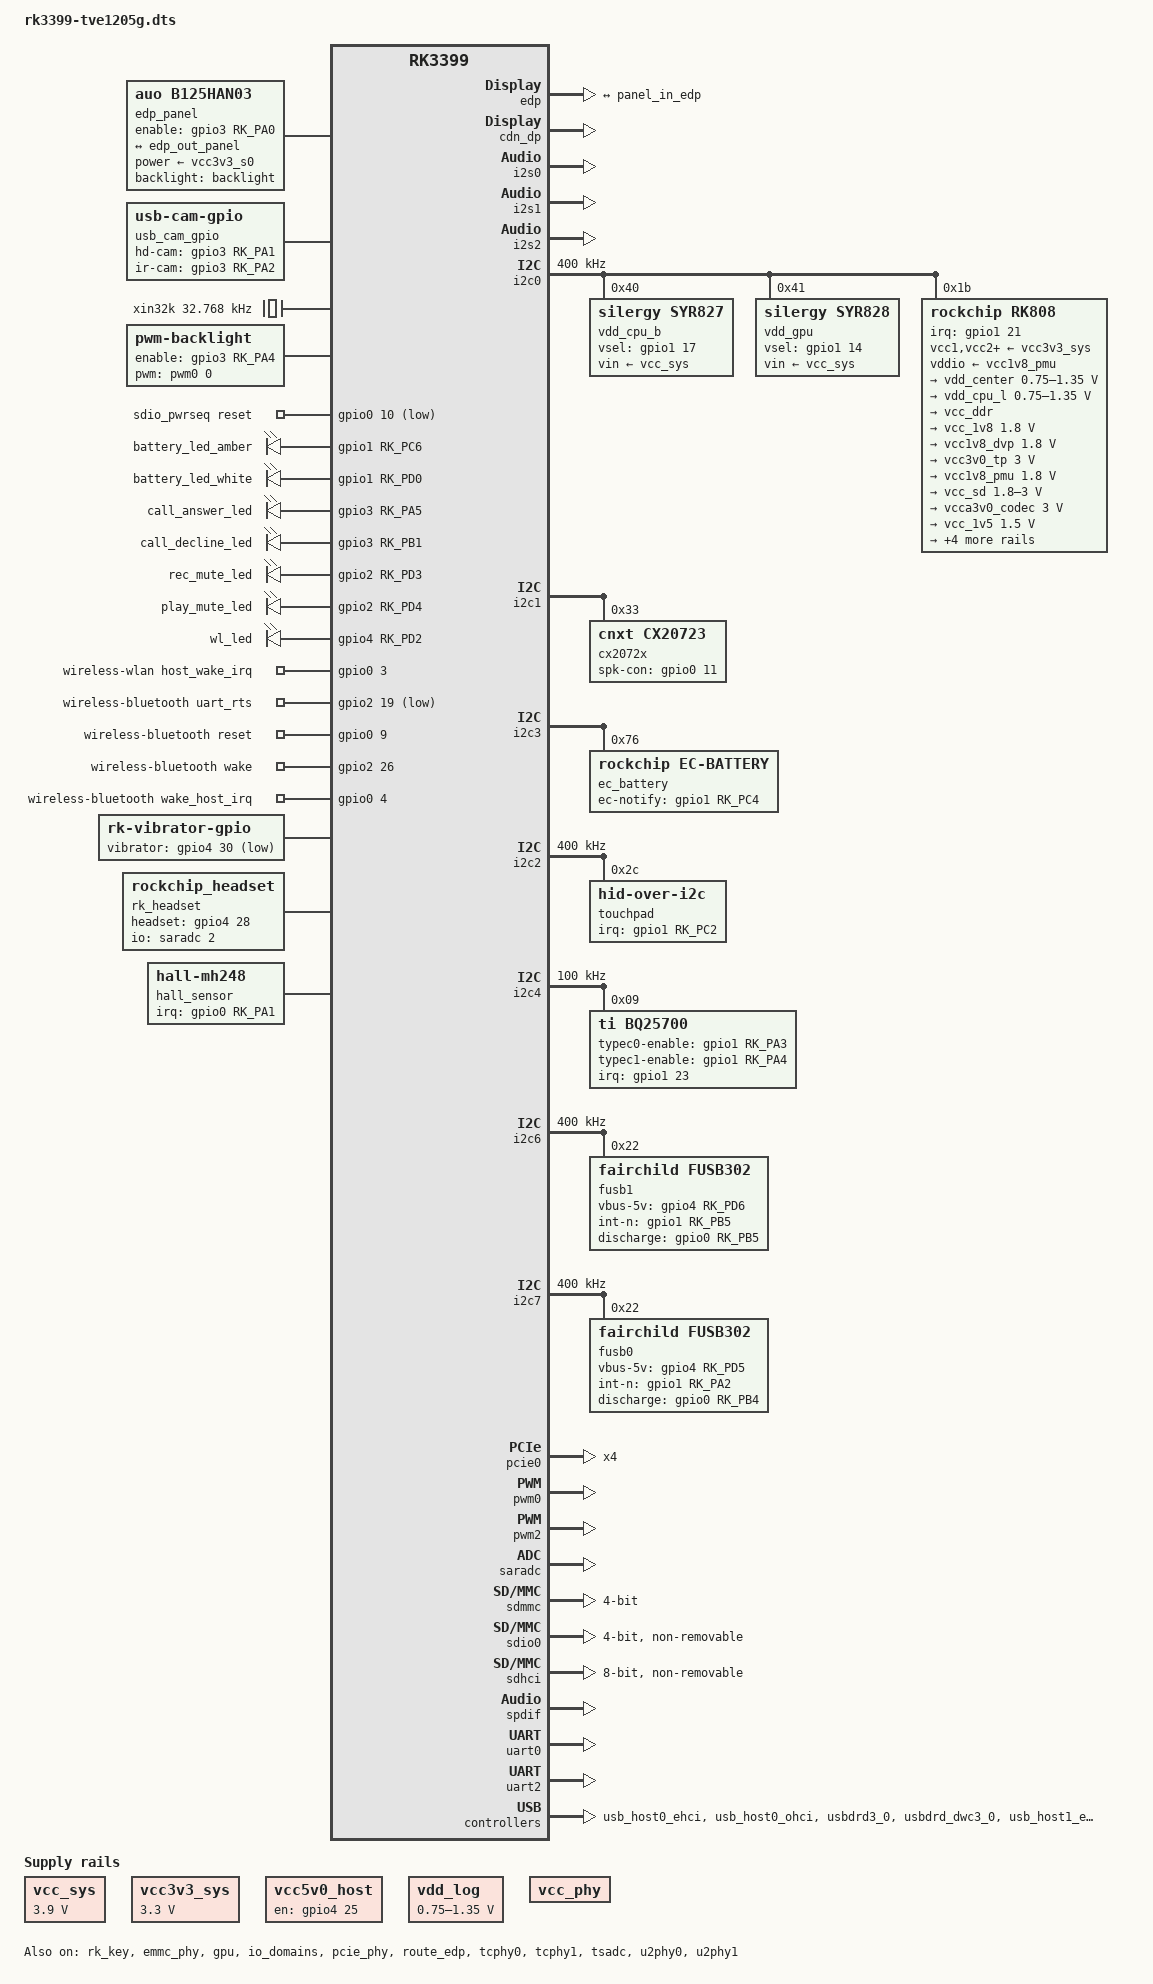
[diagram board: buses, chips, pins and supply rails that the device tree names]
/*
 * Copyright (c) 2016 Fuzhou Rockchip Electronics Co., Ltd
 *
 * This file is dual-licensed: you can use it either under the terms
 * of the GPL or the X11 license, at your option. Note that this dual
 * licensing only applies to this file, and not this project as a
 * whole.
 *
 *  a) This file is free software; you can redistribute it and/or
 *     modify it under the terms of the GNU General Public License as
 *     published by the Free Software Foundation; either version 2 of the
 *     License, or (at your option) any later version.
 *
 *     This file is distributed in the hope that it will be useful,
 *     but WITHOUT ANY WARRANTY; without even the implied warranty of
 *     MERCHANTABILITY or FITNESS FOR A PARTICULAR PURPOSE.  See the
 *     GNU General Public License for more details.
 *
 * Or, alternatively,
 *
 *  b) Permission is hereby granted, free of charge, to any person
 *     obtaining a copy of this software and associated documentation
 *     files (the "Software"), to deal in the Software without
 *     restriction, including without limitation the rights to use,
 *     copy, modify, merge, publish, distribute, sublicense, and/or
 *     sell copies of the Software, and to permit persons to whom the
 *     Software is furnished to do so, subject to the following
 *     conditions:
 *
 *     The above copyright notice and this permission notice shall be
 *     included in all copies or substantial portions of the Software.
 *
 *     THE SOFTWARE IS PROVIDED "AS IS", WITHOUT WARRANTY OF ANY KIND,
 *     EXPRESS OR IMPLIED, INCLUDING BUT NOT LIMITED TO THE WARRANTIES
 *     OF MERCHANTABILITY, FITNESS FOR A PARTICULAR PURPOSE AND
 *     NONINFRINGEMENT. IN NO EVENT SHALL THE AUTHORS OR COPYRIGHT
 *     HOLDERS BE LIABLE FOR ANY CLAIM, DAMAGES OR OTHER LIABILITY,
 *     WHETHER IN AN ACTION OF CONTRACT, TORT OR OTHERWISE, ARISING
 *     FROM, OUT OF OR IN CONNECTION WITH THE SOFTWARE OR THE USE OR
 *     OTHER DEALINGS IN THE SOFTWARE.
 */

/dts-v1/;
#include <dt-bindings/pinctrl/rockchip.h>
#include "rk3399.dtsi"
#include "rk3399-android.dtsi"
#include "rk3399-opp.dtsi"
#include <dt-bindings/sensor-dev.h>
#include <dt-bindings/pwm/pwm.h>

/ {
	compatible = "rockchip,rk3399-mid", "rockchip,rk3399";

	edp_panel: edp-panel {
		compatible = "auo,b125han03";
		backlight = <&backlight>;
		power-supply = <&vcc3v3_s0>;
		enable-gpios = <&gpio3 RK_PA0 GPIO_ACTIVE_HIGH>;
		bus-format = <MEDIA_BUS_FMT_RGB666_1X18>;
		bpc = <6>;
		prepare-delay-ms = <50>;
		ports {
			panel_in_edp: endpoint {
				remote-endpoint = <&edp_out_panel>;
			};
		};
	};

	usb_cam_gpio: usb-cam-gpio {
		compatible = "usb-cam-gpio";
		pinctrl-names = "default";
		pinctrl-0 = <&usb_cam_on_gpio>;
		hd-cam-gpios = <&gpio3 RK_PA1 GPIO_ACTIVE_HIGH>;
		ir-cam-gpios = <&gpio3 RK_PA2 GPIO_ACTIVE_HIGH>;
		status = "okay";
	};

	vcc_sys: vcc-sys {
		compatible = "regulator-fixed";
		regulator-name = "vcc_sys";
		regulator-always-on;
		regulator-boot-on;
		regulator-min-microvolt = <3900000>;
		regulator-max-microvolt = <3900000>;
	};

	vcc3v3_sys: vcc3v3-sys {
		compatible = "regulator-fixed";
		regulator-name = "vcc3v3_sys";
		regulator-always-on;
		regulator-boot-on;
		regulator-min-microvolt = <3300000>;
		regulator-max-microvolt = <3300000>;
	};

	vcc5v0_host: vcc5v0-host-regulator {
		compatible = "regulator-fixed";
		enable-active-high;
		gpio = <&gpio4 25 GPIO_ACTIVE_HIGH>;
		pinctrl-names = "default";
		pinctrl-0 = <&host_vbus_drv>;
		regulator-name = "vcc5v0_host";
		regulator-always-on;
	};

	vdd_log: vdd-log {
		compatible = "pwm-regulator";
		pwms = <&pwm2 0 25000 1>;
		rockchip,pwm_id= <2>;
		rockchip,pwm_voltage = <900000>;
		regulator-name = "vdd_log";
		regulator-min-microvolt = <750000>;
		regulator-max-microvolt = <1350000>;
		regulator-always-on;
		regulator-boot-on;
	};

	xin32k: xin32k {
		compatible = "fixed-clock";
		clock-frequency = <32768>;
		clock-output-names = "xin32k";
		#clock-cells = <0>;
	};

	backlight: backlight {
		compatible = "pwm-backlight";
		pwms = <&pwm0 0 25000 0>;
		brightness-levels = <
			0   1   51  52  52  53  53  54
			54  55  55  56  56  57  57  58
			58  59  59  60  61  61  62  63
			63  64  65  65  66  67  67  68
			69  69  70  71  71  72  73  73
			74  75  75  76  77  77  78  79
			79  80  80  81  81  82  83  83
			84  85  86  86  87  88  89  89
			90  91  92  92  93  94  95  95
			96  97  98  98  99 100 101  101
			102 103 104 104 105 106 107 107
			108 109 110 110 111 112 113 113
			114 115 116 116 117 118 119 119
			120 121 122 122 123 124 125 125
			126 127 128 128 129 130 131 131
			132 133 134 134 135 136 137 137
			138 139 140 140 141 142 143 143
			144 145 146 146 147 148 149 149
			150 151 152 152 153 154 155 155
			156 157 158 158 159 160 161 161
			162 163 164 164 165 166 167 167
			168 169 170 170 171 172 173 173
			174 175 176 176 177 178 179 179
			180 181 182 182 183 184 185 185
			186 187 188 188 189 190 191 191
			216 217 218 218 219 220 221 221
			222 223 224 224 225 226 227 227
			228 229 230 230 231 232 233 233
			234 235 236 236 237 238 239 239
			240 241 242 242 243 244 245 245
			246 247 248 248 249 250 251 251
			252 253 254 254 255 255 255 255>;
		default-brightness-level = <200>;
		enable-gpios = <&gpio3 RK_PA4 GPIO_ACTIVE_HIGH>;
	};

	vcc_phy: vcc-phy-regulator {
		compatible = "regulator-fixed";
		regulator-name = "vcc_phy";
		regulator-always-on;
		regulator-boot-on;
	};

	cx2072x-sound {
		compatible = "simple-audio-card";
		simple-audio-card,format = "i2s";
		simple-audio-card,name = "rockchip,cx2072x-codec";
		simple-audio-card,mclk-fs = <256>;
		simple-audio-card,widgets =
			"Microphone", "Microphone Jack",
			"Line", "Microphone Headset",
			"Headphone", "Headphone Jack",
			"Speaker", "Speaker External";
		simple-audio-card,routing =
			"PORTC", "Microphone Jack",
			"PortD Mic Bias", "Microphone Headset",
			"Headphone Jack", "PORTA",
			"Speaker External", "PORTG";
		simple-audio-card,cpu {
			sound-dai = <&i2s0>;
		};
		simple-audio-card,codec {
			sound-dai = <&cx2072x>;
		};
	};

	sound {
		compatible = "rockchip,cdndp-sound";
		rockchip,cpu = <&i2s2>;
		rockchip,codec = <&cdn_dp>;
		status = "okay";
	};

	bt-sound {
		compatible = "simple-audio-card";
		simple-audio-card,format = "dsp_b";
		simple-audio-card,bitclock-inversion = <1>;
		simple-audio-card,mclk-fs = <256>;
		simple-audio-card,name = "rockchip,bt";
		simple-audio-card,cpu {
			sound-dai = <&i2s1>;
		};
		simple-audio-card,codec {
			sound-dai = <&bt_sco>;
		};
	};

	bt_sco: bt-sco {
		compatible = "delta,dfbmcs320";
		#sound-dai-cells = <0>;
	};

	sdio_pwrseq: sdio-pwrseq {
		compatible = "mmc-pwrseq-simple";
		clocks = <&rk808 1>;
		clock-names = "ext_clock";
		pinctrl-names = "default";
		pinctrl-0 = <&wifi_enable_h>;

		/*
		 * On the module itself this is one of these (depending
		 * on the actual card populated):
		 * - SDIO_RESET_L_WL_REG_ON
		 * - PDN (power down when low)
		 */
		reset-gpios = <&gpio0 10 GPIO_ACTIVE_LOW>; /* GPIO0_B2 */
	};

	leds: gpio-leds {
		compatible = "gpio-leds";
		pinctrl-names = "default";
		pinctrl-0 =<&leds_gpio>;

		led@1 {
			gpios = <&gpio1 RK_PC6 GPIO_ACTIVE_HIGH>;
			label = "battery_led_amber";
			retain-state-suspended;
		};

		led@2 {
			gpios = <&gpio1 RK_PD0 GPIO_ACTIVE_HIGH>;
			label = "battery_led_white";
			retain-state-suspended;
		};

		led@3 {
			gpios = <&gpio3 RK_PA5 GPIO_ACTIVE_HIGH>;
			label = "call_answer_led";
		};

		led@4 {
			gpios = <&gpio3 RK_PB1 GPIO_ACTIVE_HIGH>;
			label = "call_decline_led";
		};

		led@5 {
			gpios = <&gpio2 RK_PD3 GPIO_ACTIVE_HIGH>;
			label = "rec_mute_led";
		};

		led@6 {
			gpios = <&gpio2 RK_PD4 GPIO_ACTIVE_HIGH>;
			label = "play_mute_led";
		};

		led@7 {
			gpios = <&gpio4 RK_PD2 GPIO_ACTIVE_HIGH>;
			label = "wl_led";
		};
	};

	wireless-wlan {
		compatible = "wlan-platdata";
		rockchip,grf = <&grf>;
		wifi_chip_type = "ap6354";
		sdio_vref = <1800>;
		WIFI,host_wake_irq = <&gpio0 3 GPIO_ACTIVE_HIGH>; /* GPIO0_a3 */
		status = "okay";
	};

	wireless-bluetooth {
		compatible = "bluetooth-platdata";
		clocks = <&rk808 1>;
		clock-names = "ext_clock";
		//wifi-bt-power-toggle;
		uart_rts_gpios = <&gpio2 19 GPIO_ACTIVE_LOW>; /* GPIO2_C3 */
		pinctrl-names = "default", "rts_gpio";
		pinctrl-0 = <&uart0_rts>;
		pinctrl-1 = <&uart0_gpios>;
		//BT,power_gpio  = <&gpio3 19 GPIO_ACTIVE_HIGH>; /* GPIOx_xx */
		BT,reset_gpio    = <&gpio0 9 GPIO_ACTIVE_HIGH>; /* GPIO0_B1 */
		BT,wake_gpio     = <&gpio2 26 GPIO_ACTIVE_HIGH>; /* GPIO2_D2 */
		BT,wake_host_irq = <&gpio0 4 GPIO_ACTIVE_HIGH>; /* GPIO0_A4 */
		status = "okay";
	};

	uboot-charge {
		compatible = "rockchip,uboot-charge";
		rockchip,uboot-charge-on = <1>;
		rockchip,android-charge-on = <0>;
		rockchip,uboot-exit-charge-level = <2>;
		rockchip,uboot-low-power-level = <1>;
		rockchip,uboot-charge-brightness = <0>;
		max-input-voltage = <20000>;
		max-input-current = <6000>;
	};

	vibrator {
		compatible = "rk-vibrator-gpio";
		vibrator-gpio = <&gpio4 30 GPIO_ACTIVE_LOW>;
		status = "okay";
	};

	rk_headset {
		compatible = "rockchip_headset";
		headset_gpio = <&gpio4 28 GPIO_ACTIVE_HIGH>;
		pinctrl-names = "default";
		pinctrl-0 = <&hp_det>;
		io-channels = <&saradc 2>;
	};

	hall_sensor: hall-mh248 {
		compatible = "hall-mh248";
		pinctrl-names = "default";
		pinctrl-0 = <&mh248_irq_gpio>;
		irq-gpio = <&gpio0 RK_PA1 IRQ_TYPE_EDGE_BOTH>;
		hall-active = <1>;
		status = "okay";
	};
};

&rk_key {
	compatible = "rockchip,key";
	status = "okay";

	io-channels = <&saradc 1>;

	vol-up-key {
		linux,code = <114>;
		label = "volume up";
		rockchip,adc_value = <1>;
	};

	vol-down-key {
		linux,code = <115>;
		label = "volume down";
		rockchip,adc_value = <170>;
	};

	power-key {
		gpios = <&gpio0 5 GPIO_ACTIVE_LOW>;
		linux,code = <116>;
		label = "power";
		gpio-key,wakeup;
	};

	menu-key {
		linux,code = <59>;
		label = "menu";
		rockchip,adc_value = <746>;
	};

	home-key {
		linux,code = <102>;
		label = "home";
		rockchip,adc_value = <355>;
	};

	back-key {
		linux,code = <158>;
		label = "back";
		rockchip,adc_value = <560>;
	};

	camera-key {
		linux,code = <212>;
		label = "camera";
		rockchip,adc_value = <450>;
	};
};

&cpu_l0 {
	cpu-supply = <&vdd_cpu_l>;
};

&cpu_l1 {
	cpu-supply = <&vdd_cpu_l>;
};

&cpu_l2 {
	cpu-supply = <&vdd_cpu_l>;
};

&cpu_l3 {
	cpu-supply = <&vdd_cpu_l>;
};

&cpu_b0 {
	cpu-supply = <&vdd_cpu_b>;
};

&cpu_b1 {
	cpu-supply = <&vdd_cpu_b>;
};

&edp {
	status = "okay";

	ports {
		edp_out: port@1 {
			reg = <1>;
			#address-cells = <1>;
			#size-cells = <0>;
			edp_out_panel: endpoint@0 {
				reg = <0>;
				remote-endpoint = <&panel_in_edp>;
			};
		};
	};
};

&edp_in_vopl {
	status = "disabled";
};

&emmc_phy {
	status = "okay";
};

&gpu {
	status = "okay";
	mali-supply = <&vdd_gpu>;
};

&hdmi {
	status = "disabled";
};

&cdn_dp {
	status = "okay";
	extcon = <&fusb0>, <&fusb1>;
};

&dp_in_vopb {
	status = "disabled";
};

&i2s0 {
	status = "okay";
	rockchip,i2s-broken-burst-len;
	rockchip,playback-channels = <8>;
	rockchip,capture-channels = <8>;
	rockchip,bclk-fs = <32>;
	#sound-dai-cells = <0>;
};

&i2s1 {
	status = "okay";
	rockchip,i2s-broken-burst-len;
	rockchip,playback-channels = <2>;
	rockchip,capture-channels = <2>;
	#sound-dai-cells = <0>;
};

&i2s2 {
	status = "okay";
	#sound-dai-cells = <0>;
};

&i2c0 {
	status = "okay";
	i2c-scl-rising-time-ns = <180>;
	i2c-scl-falling-time-ns = <30>;
	clock-frequency = <400000>;

	vdd_cpu_b: syr837@40 {
		compatible = "silergy,syr827";
		reg = <0x40>;
		vin-supply = <&vcc_sys>;
		regulator-compatible = "fan53555-reg";
		pinctrl-0 = <&vsel1_gpio>;
		vsel-gpios = <&gpio1 17 GPIO_ACTIVE_HIGH>;
		regulator-name = "vdd_cpu_b";
		regulator-min-microvolt = <712500>;
		regulator-max-microvolt = <1500000>;
		regulator-ramp-delay = <1000>;
		fcs,suspend-voltage-selector = <1>;
		regulator-always-on;
		regulator-initial-state = <3>;
		regulator-state-mem {
			regulator-off-in-suspend;
		};
	};

	vdd_gpu: syr828@41 {
		compatible = "silergy,syr828";
		status = "okay";
		reg = <0x41>;
		vin-supply = <&vcc_sys>;
		regulator-compatible = "fan53555-reg";
		pinctrl-0 = <&vsel2_gpio>;
		vsel-gpios = <&gpio1 14 GPIO_ACTIVE_HIGH>;
		regulator-name = "vdd_gpu";
		regulator-min-microvolt = <735000>;
		regulator-max-microvolt = <1400000>;
		regulator-ramp-delay = <1000>;
		fcs,suspend-voltage-selector = <1>;
		regulator-always-on;
		regulator-boot-on;
		regulator-state-mem {
			regulator-off-in-suspend;
		};
	};

	rk808: pmic@1b {
		compatible = "rockchip,rk808";
		reg = <0x1b>;
		interrupt-parent = <&gpio1>;
		interrupts = <21 IRQ_TYPE_LEVEL_LOW>;
		pinctrl-0 = <&pmic_int_l>;
		rockchip,system-power-controller;
		wakeup-source;
		#clock-cells = <1>;
		clock-output-names = "rk808-clkout1", "rk808-clkout2";

		vcc1-supply = <&vcc3v3_sys>;
		vcc2-supply = <&vcc3v3_sys>;
		vcc3-supply = <&vcc3v3_sys>;
		vcc4-supply = <&vcc3v3_sys>;
		vcc6-supply = <&vcc3v3_sys>;
		vcc7-supply = <&vcc3v3_sys>;
		vcc8-supply = <&vcc3v3_sys>;
		vcc9-supply = <&vcc3v3_sys>;
		vcc10-supply = <&vcc3v3_sys>;
		vcc11-supply = <&vcc3v3_sys>;
		vcc12-supply = <&vcc3v3_sys>;
		vddio-supply = <&vcc1v8_pmu>;

		regulators {
			vdd_center: DCDC_REG1 {
				regulator-always-on;
				regulator-boot-on;
				regulator-min-microvolt = <750000>;
				regulator-max-microvolt = <1350000>;
				regulator-ramp-delay = <6001>;
				regulator-name = "vdd_center";
				regulator-state-mem {
					regulator-off-in-suspend;
				};
			};

			vdd_cpu_l: DCDC_REG2 {
				regulator-always-on;
				regulator-boot-on;
				regulator-min-microvolt = <750000>;
				regulator-max-microvolt = <1350000>;
				regulator-ramp-delay = <6001>;
				regulator-name = "vdd_cpu_l";
				regulator-state-mem {
					regulator-off-in-suspend;
				};
			};

			vcc_ddr: DCDC_REG3 {
				regulator-always-on;
				regulator-boot-on;
				regulator-name = "vcc_ddr";
				regulator-state-mem {
					regulator-on-in-suspend;
				};
			};

			vcc_1v8: DCDC_REG4 {
				regulator-always-on;
				regulator-boot-on;
				regulator-min-microvolt = <1800000>;
				regulator-max-microvolt = <1800000>;
				regulator-name = "vcc_1v8";
				regulator-state-mem {
					regulator-on-in-suspend;
					regulator-suspend-microvolt = <1800000>;
				};
			};

			vcc1v8_dvp: LDO_REG1 {
				regulator-always-on;
				regulator-boot-on;
				regulator-min-microvolt = <1800000>;
				regulator-max-microvolt = <1800000>;
				regulator-name = "vcc1v8_dvp";
				regulator-state-mem {
					regulator-off-in-suspend;
				};
			};

			vcc3v0_tp: LDO_REG2 {
				regulator-always-on;
				regulator-boot-on;
				regulator-min-microvolt = <3000000>;
				regulator-max-microvolt = <3000000>;
				regulator-name = "vcc3v0_tp";
				regulator-state-mem {
					regulator-off-in-suspend;
				};
			};

			vcc1v8_pmu: LDO_REG3 {
				regulator-always-on;
				regulator-boot-on;
				regulator-min-microvolt = <1800000>;
				regulator-max-microvolt = <1800000>;
				regulator-name = "vcc1v8_pmu";
				regulator-state-mem {
					regulator-on-in-suspend;
					regulator-suspend-microvolt = <1800000>;
				};
			};

			vcc_sd: LDO_REG4 {
				regulator-always-on;
				regulator-boot-on;
				regulator-min-microvolt = <1800000>;
				regulator-max-microvolt = <3000000>;
				regulator-name = "vcc_sd";
				regulator-state-mem {
					regulator-on-in-suspend;
					regulator-suspend-microvolt = <3000000>;
				};
			};

			vcca3v0_codec: LDO_REG5 {
				regulator-always-on;
				regulator-boot-on;
				regulator-min-microvolt = <3000000>;
				regulator-max-microvolt = <3000000>;
				regulator-name = "vcca3v0_codec";
				regulator-state-mem {
					regulator-off-in-suspend;
				};
			};

			vcc_1v5: LDO_REG6 {
				regulator-always-on;
				regulator-boot-on;
				regulator-min-microvolt = <1500000>;
				regulator-max-microvolt = <1500000>;
				regulator-name = "vcc_1v5";
				regulator-state-mem {
					regulator-on-in-suspend;
					regulator-suspend-microvolt = <1500000>;
				};
			};

			vcca1v8_codec: LDO_REG7 {
				regulator-always-on;
				regulator-boot-on;
				regulator-min-microvolt = <1800000>;
				regulator-max-microvolt = <1800000>;
				regulator-name = "vcca1v8_codec";
				regulator-state-mem {
					regulator-off-in-suspend;
				};
			};

			vcc_3v0: LDO_REG8 {
				regulator-always-on;
				regulator-boot-on;
				regulator-min-microvolt = <3000000>;
				regulator-max-microvolt = <3000000>;
				regulator-name = "vcc_3v0";
				regulator-state-mem {
					regulator-on-in-suspend;
					regulator-suspend-microvolt = <3000000>;
				};
			};

			vcc3v3_s3: SWITCH_REG1 {
				regulator-always-on;
				regulator-boot-on;
				regulator-name = "vcc3v3_s3";
				regulator-state-mem {
					regulator-off-in-suspend;
				};
			};

			vcc3v3_s0: SWITCH_REG2 {
				regulator-always-on;
				regulator-boot-on;
				regulator-name = "vcc3v3_s0";
				regulator-state-mem {
					regulator-off-in-suspend;
				};
			};
		};
	};
};

&i2c1 {
	status = "okay";
	i2c-scl-rising-time-ns = <140>;
	i2c-scl-falling-time-ns = <30>;

	cx2072x:cx2072x@33 {
		status = "okay";
		#sound-dai-cells = <0>;
		compatible = "cnxt,cx20723";
		reg = <0x33>;
		clocks = <&cru SCLK_I2S_8CH_OUT>;
		clock-names = "mclk";
		pinctrl-names = "default";
		pinctrl-0 = <&i2s_8ch_mclk>;
		spk-con-gpio = <&gpio0 11 GPIO_ACTIVE_HIGH>;
	};
};

&i2c3 {
	status="okay";

	hidkey@68 {
		clock-frequency = <100000>;
		compatible = "hid-over-i2c";
		interrupt-parent = <&gpio0>;
		interrupts = <RK_PB0 IRQ_TYPE_LEVEL_LOW>;
		pinctrl-names = "default";
		pinctrl-0 = <&hidkey_irq_gpio>;
		reg = <0x68>;
		hid-descr-addr = <0x0001>;
		hid-support-wakeup;
	};

	ec_battery@76 {
		compatible = "rockchip,ec-battery";
		reg = <0x76>;
		virtual_power = <0>;
		monitor_sec = <5>;
		ec-notify-gpios = <&gpio1 RK_PC4 GPIO_ACTIVE_HIGH>;
	};
};

&i2c2 {
	status = "okay";
	i2c-scl-rising-time-ns = <345>;
	i2c-scl-falling-time-ns = <11>;
	clock-frequency = <400000>;

	touchpad: touchpad@2c {
		compatible = "hid-over-i2c";
		interrupt-parent = <&gpio1>;
		interrupts = <RK_PC2 IRQ_TYPE_LEVEL_LOW>;
		pinctrl-names = "default";
		pinctrl-0 = <&touchpad_irq_gpio>;
		reg = <0x2c>;
		hid-descr-addr = <0x002c>;
	};
};

&i2c4 {
	status = "okay";
	clock-frequency = <100000>;
	bq25700: bq25700@09 {//6a
		compatible = "ti,bq25700";
		reg = <0x09>;
		extcon = <&fusb0>, <&fusb1>;

		interrupt-parent = <&gpio1>;
		interrupts = <23 IRQ_TYPE_LEVEL_LOW>;
		pinctrl-names = "default";
		pinctrl-0 = <&charger_ok>;
		ti,charge-current = <2500000>;
		ti,max-input-voltage = <20000000>;
		ti,max-input-current = <6000000>;
		ti,max-charge-voltage = <8750000>;
		ti,input-current = <500000>;
		ti,input-current-sdp = <500000>;
		ti,input-current-dcp = <2000000>;
		ti,input-current-cdp = <2000000>;
		ti,minimum-sys-voltage = <7400000>;
		ti,otg-voltage = <5000000>;
		ti,otg-current = <500000>;
		pd-charge-only = <1>;
		typec0-enable-gpios = <&gpio1 RK_PA3 GPIO_ACTIVE_HIGH>;
		typec1-enable-gpios = <&gpio1 RK_PA4 GPIO_ACTIVE_HIGH>;
	};
};

&i2c6 {
	status = "okay";
	i2c-scl-rising-time-ns = <345>;
	i2c-scl-falling-time-ns = <11>;
	clock-frequency = <400000>;

	fusb1: fusb30x@22 {
		compatible = "fairchild,fusb302";
		reg = <0x22>;
		pinctrl-names = "default";
		pinctrl-0 = <&fusb1_int>;
		vbus-5v-gpios = <&gpio4 RK_PD6 GPIO_ACTIVE_HIGH>;
		int-n-gpios = <&gpio1 RK_PB5 GPIO_ACTIVE_HIGH>;
		discharge-gpios = <&gpio0 RK_PB5 GPIO_ACTIVE_HIGH>;
		charge-dev = <&bq25700>;
		support-uboot-charge = <1>;
		port-num = <1>;
		status = "okay";
	};
};

&i2c7 {
	status = "okay";
	i2c-scl-rising-time-ns = <345>;
	i2c-scl-falling-time-ns = <11>;
	clock-frequency = <400000>;

	fusb0: fusb30x@22 {
		compatible = "fairchild,fusb302";
		reg = <0x22>;
		pinctrl-names = "default";
		pinctrl-0 = <&fusb0_int>;
		vbus-5v-gpios = <&gpio4 RK_PD5 GPIO_ACTIVE_HIGH>;
		int-n-gpios = <&gpio1 RK_PA2 GPIO_ACTIVE_HIGH>;
		discharge-gpios = <&gpio0 RK_PB4 GPIO_ACTIVE_HIGH>;
		charge-dev = <&bq25700>;
		support-uboot-charge = <1>;
		port-num = <0>;
		status = "okay";
	};
};

&io_domains {
	status = "okay";
	bt656-supply = <&vcc_3v0>;
	audio-supply = <&vcca1v8_codec>;
	sdmmc-supply = <&vcc_sd>;
	gpio1830-supply = <&vcc_3v0>;
};

&dsi {
	status = "disabled";
};

&pcie_phy {
	status = "okay";
};

&pcie0 {
	ep-gpios = <&gpio3 7 GPIO_ACTIVE_HIGH>;
	num-lanes = <4>;
	pinctrl-names = "default";
	pinctrl-0 = <&pcie_clkreqn_cpm>;
	status = "okay";
};

&pmu_io_domains {
	status = "okay";
	pmu1830-supply = <&vcc_1v8>;
};

&pwm0 {
	status = "okay";
};

&pwm2 {
	status = "okay";
};

&route_edp {
	status = "okay";
	logo,mode = "center";
};

&saradc {
	status = "okay";
};

&sdmmc {
	clock-frequency = <50000000>;
	clock-freq-min-max = <400000 150000000>;
	supports-sd;
	bus-width = <4>;
	cap-mmc-highspeed;
	cap-sd-highspeed;
	disable-wp;
	num-slots = <1>;
	//sd-uhs-sdr104;
	vqmmc-supply = <&vcc_sd>;
	pinctrl-names = "default";
	pinctrl-0 = <&sdmmc_clk &sdmmc_cmd &sdmmc_cd &sdmmc_bus4>;
	status = "okay";
};

&sdio0 {
	clock-frequency = <150000000>;
	clock-freq-min-max = <200000 150000000>;
	supports-sdio;
	bus-width = <4>;
	disable-wp;
	cap-sd-highspeed;
	cap-sdio-irq;
	keep-power-in-suspend;
	mmc-pwrseq = <&sdio_pwrseq>;
	non-removable;
	num-slots = <1>;
	pinctrl-names = "default";
	pinctrl-0 = <&sdio0_bus4 &sdio0_cmd &sdio0_clk>;
	sd-uhs-sdr104;
	status = "okay";
};

&sdhci {
	bus-width = <8>;
	mmc-hs400-1_8v;
	supports-emmc;
	non-removable;
	keep-power-in-suspend;
	mmc-hs400-enhanced-strobe;
	status = "okay";
};

&spdif {
	status = "okay";
	#sound-dai-cells = <0>;
};

&spi1 {
	status = "disabled";
};

&tcphy0 {
	extcon = <&fusb0>;
	status = "okay";
};

&tcphy1 {
	extcon = <&fusb1>;
	status = "okay";
};

&tsadc {
	rockchip,hw-tshut-mode = <1>; /* tshut mode 0:CRU 1:GPIO */
	rockchip,hw-tshut-polarity = <1>; /* tshut polarity 0:LOW 1:HIGH */
	status = "okay";
};

&u2phy0 {
	status = "okay";
	extcon = <&fusb0>;

	u2phy0_otg: otg-port {
		status = "okay";
	};

	u2phy0_host: host-port {
		phy-supply = <&vcc5v0_host>;
		status = "okay";
	};
};

&u2phy1 {
	status = "okay";
	extcon = <&fusb1>;

	u2phy1_otg: otg-port {
		status = "okay";
	};

	u2phy1_host: host-port {
		phy-supply = <&vcc5v0_host>;
		status = "okay";
	};
};

&uart0 {
	pinctrl-names = "default";
	pinctrl-0 = <&uart0_xfer &uart0_cts>;
	status = "okay";
};

&uart2 {
	status = "okay";
};

&usb_host0_ehci {
	status = "okay";
};

&usb_host0_ohci {
	status = "okay";
};

&usbdrd3_0 {
	extcon = <&fusb0>;
	status = "okay";
};

&usbdrd_dwc3_0 {
	status = "okay";
};

&usb_host1_ehci {
	status = "okay";
};

&usb_host1_ohci {
	status = "okay";
};

&usbdrd3_1 {
	extcon = <&fusb1>;
	status = "okay";
};

&usbdrd_dwc3_1 {
	status = "okay";
};

&rockchip_suspend {
	status = "okay";
	rockchip,sleep-debug-en = <1>;
	rockchip,sleep-mode-config = <
		(0
		| RKPM_SLP_ARMPD
		| RKPM_SLP_PERILPPD
		| RKPM_SLP_DDR_RET
		| RKPM_SLP_PLLPD
		| RKPM_SLP_CENTER_PD
		| RKPM_SLP_AP_PWROFF
		)
		>;
		rockchip,wakeup-config = <
		(0
		| RKPM_GPIO_WKUP_EN
		| RKPM_PWM_WKUP_EN
		)
		>;
		rockchip,pwm-regulator-config = <
		(0
		| PWM2_REGULATOR_EN
		)
		>;
		rockchip,power-ctrl =
		<&gpio1 17 GPIO_ACTIVE_HIGH>,
		<&gpio1 14 GPIO_ACTIVE_HIGH>;
};

&pinctrl {
	sdio-pwrseq {
		wifi_enable_h: wifi-enable-h {
			rockchip,pins = <0 10 RK_FUNC_GPIO &pcfg_pull_none>;
		};
	};

	wireless-bluetooth {
		uart0_gpios: uart0-gpios {
			rockchip,pins = <2 19 RK_FUNC_GPIO &pcfg_pull_none>;
		};
	};

	pmic {
		pmic_int_l: pmic-int-l {
			rockchip,pins =
				<1 21 RK_FUNC_GPIO &pcfg_pull_up>;
		};
		vsel1_gpio: vsel1-gpio {
			rockchip,pins =
				<1 17 RK_FUNC_GPIO &pcfg_pull_down>;
		};
		vsel2_gpio: vsel2-gpio {
			rockchip,pins =
				<1 14 RK_FUNC_GPIO &pcfg_pull_down>;
		};
	};

	headphone {
		hp_det: hp-det {
			rockchip,pins = <4 28 RK_FUNC_GPIO &pcfg_pull_up>;
		};
	};

	hallsensor {
		mh248_irq_gpio: mh248-irq-gpio {
			rockchip,pins = <0 RK_PA1 RK_FUNC_GPIO &pcfg_pull_up>;
		};
	};

	hidkey {
		hidkey_irq_gpio: hidkey-irq-gpio {
			rockchip,pins = <0 RK_PB0 RK_FUNC_GPIO &pcfg_pull_up>;
		};
	};

	touchpad {
		touchpad_irq_gpio: touchpad-irq-gpio {
			rockchip,pins = <1 RK_PC2 RK_FUNC_GPIO &pcfg_pull_up>;
		};
	};

	charger {
		charger_ok: charge-ok {
			rockchip,pins =
				<1 23 RK_FUNC_GPIO &pcfg_pull_up>;
		};
	};

	gpio-leds {
		leds_gpio: leds-gpio {
			rockchip,pins =
				<1 RK_PC6 RK_FUNC_GPIO &pcfg_pull_up>,
				<1 RK_PD0 RK_FUNC_GPIO &pcfg_pull_up>,
				<3 RK_PA5 RK_FUNC_GPIO &pcfg_pull_up>,
				<3 RK_PB1 RK_FUNC_GPIO &pcfg_pull_up>,
				<2 RK_PD3 RK_FUNC_GPIO &pcfg_pull_up>,
				<2 RK_PD4 RK_FUNC_GPIO &pcfg_pull_up>,
				<4 RK_PD2 RK_FUNC_GPIO &pcfg_pull_up>;
		};
	};

	usb2 {
		host_vbus_drv: host-vbus-drv {
			rockchip,pins =
				<4 25 RK_FUNC_GPIO &pcfg_pull_none>;
		};
	};

	usb_camera {
		usb_cam_on_gpio: usb-cam-on-gpio {
			rockchip,pins =
				<3 RK_PA1 RK_FUNC_GPIO &pcfg_pull_up>,
				<3 RK_PA2 RK_FUNC_GPIO &pcfg_pull_up>;
		};
	};

	fusb30x {
		fusb0_int: fusb0-int {
			rockchip,pins =
				<1 RK_PA2 RK_FUNC_GPIO &pcfg_pull_up>,
				<0 RK_PB4 RK_FUNC_GPIO &pcfg_pull_up>;
		};
		fusb1_int: fusb1-int {
			rockchip,pins =
				<1 RK_PB5 RK_FUNC_GPIO &pcfg_pull_up>,
				<0 RK_PB5 RK_FUNC_GPIO &pcfg_pull_up>;
		};
	};
};
